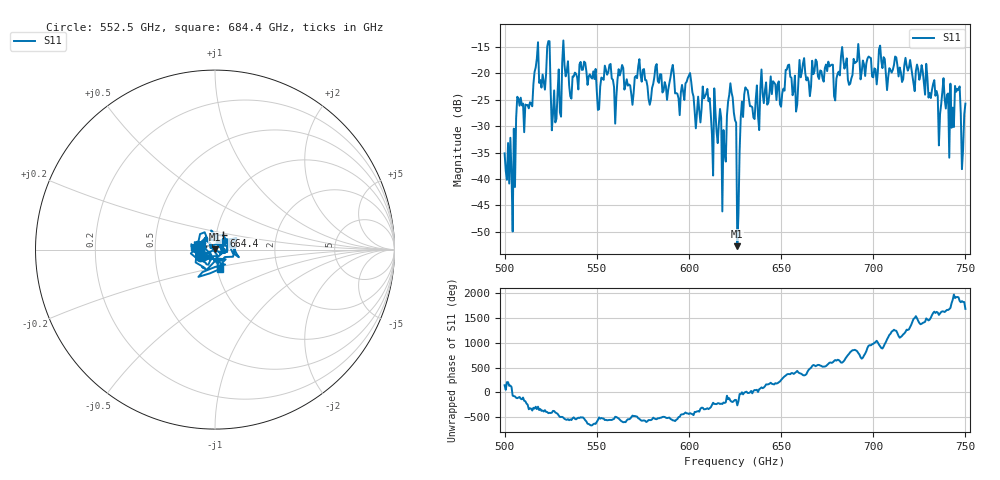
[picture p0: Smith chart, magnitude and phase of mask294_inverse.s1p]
!Created with skrf (http://scikit-rf.org).
# GHz S MA R 50.0
!freq magS11 angS11
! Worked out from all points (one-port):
!   401 points, 500 GHz to 750 GHz, reference 50 ohm
!   lowest |S11| = -52.8 dB at 626.2 GHz (marker M1), VSWR 1.00, Z = 50 + j0.226 ohm
!   |S11| at or under -10 dB: start of sweep to end of sweep
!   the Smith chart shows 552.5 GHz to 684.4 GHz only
!   S11 on the Smith chart (normalised r, x): 552.5 GHz: 0.85, -0.07; 664.4 GHz: 1.08, +0.17; 684.4 GHz: 1.04, -0.22
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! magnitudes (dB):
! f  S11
! 500 GHz  -35.2
! 504.4 GHz  -50.0
! 507.5 GHz  -24.8
! 513.8 GHz  -25.5
! 516.9 GHz  -18.9
! 520.6 GHz  -20.2
! 523.8 GHz  -13.9
! 526.9 GHz  -23.2
! 531.2 GHz  -17.9
! 552.5 GHz  -20.8
! 562.5 GHz  -20.4
! 578.8 GHz  -26.0
! 590.6 GHz  -19.3
! 593.8 GHz  -23.9
! 608.8 GHz  -24.3
! 618.8 GHz  -30.7
! 622.5 GHz  -21.9
! 625 GHz  -28.9
! 626.2 GHz  -52.8
! 631.2 GHz  -23.0
! 634.4 GHz  -26.4
! 656.2 GHz  -24.1
! 664.4 GHz  -20.8
! 684.4 GHz  -19.1
! 687.5 GHz  -22.0
! 690.6 GHz  -17.9
! 718.8 GHz  -19.5
! 750 GHz  -25.7
